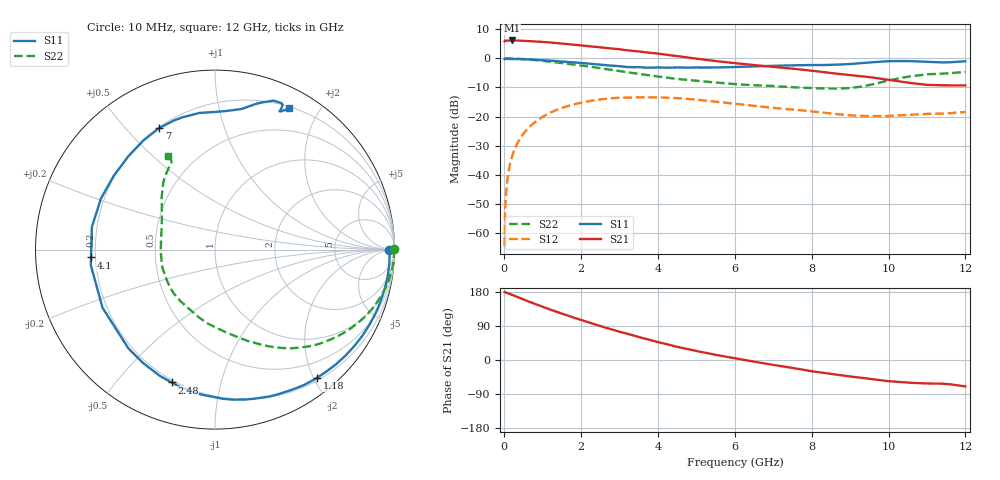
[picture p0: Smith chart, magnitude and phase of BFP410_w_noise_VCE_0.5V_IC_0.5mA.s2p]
! (c) 2015  Infineon Technologies AG, Munich
! Infineon Technologies  Discrete & RF Semiconductors
! BFP410
! VCE =  0.5 V,  IC =  0.5 mA
! Common Emitter S-Parameters:  Nov 2015
# GHz  S  MA  R  50
!  f  S11  S21  S12  S22
! GHz  MAG  ANG  MAG  ANG  MAG  ANG  MAG  ANG
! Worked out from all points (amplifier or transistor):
!   243 points, 10 MHz to 12 GHz, reference 50 ohm
!   highest |S21| = 6.1 dB at 195 MHz (marker M1)
!   |S21| within 3 dB of that: start of sweep to 2.981 GHz
!   unconditionally stable (mu >= 1): 4.708 GHz to end of sweep
!   at 240 MHz: K = 0.03, MSG = 19.2 dB, |S12| = -32.3 dB
!   at 1.84 GHz: K = 0.32, MSG = 10.2 dB, |S12| = -15.7 dB
!   at 12 GHz: K = 1.53, MAG = 0.3 dB, |S12| = -18.4 dB
!   lowest NFmin = 0.85 dB at 900 MHz
!   S11 on the Smith chart (normalised r, x): 10 MHz: 67, -4; 1.18 GHz: 0.24, -2.05; 2.48 GHz: 0.19, -0.71; 4.1 GHz: 0.18, -0.03; 7 GHz: 0.20, +0.62; 12 GHz: 0.22, +1.64
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0.01  0.9705 -0.1  1.949 179.4  0.0006 80.5  0.9991 0.1
0.015  0.9718 -0.5  1.982 179.3  0.0013 84.9  0.9981 -0.1
0.02  0.9732 -0.8  2.015 179.3  0.0021 86.2  0.9972 -0.3
0.055  0.9735 -2.4  2.003 177.3  0.0055 88.2  0.9977 -1.4
0.115  0.9742 -4.9  2.017 175.5  0.0117 86.5  0.9967 -3.1
0.195  0.9739 -8.3  2.021 172.3  0.0199 84.5  0.9938 -5.4
0.52  0.961 -22.5  1.996 159.0  0.0529 75.3  0.9683 -13.9
1.18  0.9127 -51.5  1.869 133.7  0.1152 56.0  0.8783 -29.6
1.6  0.8722 -69.9  1.764 118.7  0.1477 44.0  0.8124 -38.3
2.02  0.8292 -87.8  1.657 105.1  0.1741 33.1  0.7506 -45.8
2.48  0.7785 -108.1  1.55 90.3  0.1961 21.0  0.6791 -54.0
3  0.732 -131.2  1.427 74.6  0.2108 8.3  0.6031 -62.5
3.5  0.7055 -152.6  1.31 60.5  0.215 -2.7  0.5403 -70.4
4.1  0.6921 -176.4  1.178 44.9  0.2124 -14.2  0.4771 -80.0
5  0.6963 155.8  0.987 23.5  0.1956 -29.7  0.4122 -96.3
6.1  0.7113 131.0  0.813 2.8  0.163 -41.9  0.3567 -115.4
7  0.7452 114.7  0.712 -12.9  0.1411 -47.0  0.3349 -134.2
8.2  0.7656 92.6  0.591 -32.4  0.1189 -50.6  0.3043 -167.5
9.2  0.8172 77.0  0.498 -45.8  0.1035 -46.7  0.3207 158.2
10.2  0.8936 67.2  0.408 -57.4  0.1044 -40.3  0.4418 131.5
11  0.8686 64.8  0.35 -61.9  0.1113 -39.3  0.5313 118.4
12  0.8895 62.2  0.343 -69.8  0.12 -39.4  0.5833 116.9
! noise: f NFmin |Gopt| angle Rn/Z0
0.45  0.91  0.8  10  0.81
0.9  0.85  0.78  25  0.75
1.8  1.38  0.67  59  0.64
2.4  1.54  0.64  75  0.53
5.5  3.38  0.54  -159  0.23
